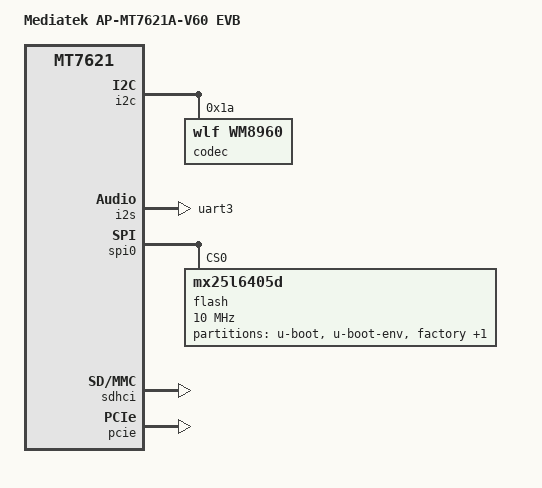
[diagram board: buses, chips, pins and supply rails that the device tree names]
/dts-v1/;

#include "mt7621.dtsi"

/ {
	compatible = "mediatek,ap-mt7621a-v60", "mediatek,mt7621-soc";
	model = "Mediatek AP-MT7621A-V60 EVB";

	chosen {
		bootargs = "console=ttyS0,57600";
	};

	sound {
		compatible = "simple-audio-card";
		simple-audio-card,name = "Audio-I2S";
		simple-audio-card,format = "i2s";
		simple-audio-card,bitclock-master = <&dailink0_master>;
		simple-audio-card,frame-master = <&dailink0_master>;
		simple-audio-card,widgets =
			"Microphone", "Microphone Jack",
			"Headphone", "Headphone Jack";
		simple-audio-card,routing =
			"LINPUT1", "Microphone Jack",
			"RINPUT1", "Microphone Jack",
			"Headphone Jack", "HP_L",
			"Headphone Jack", "HP_R";
		simple-audio-card,mclk-fs = <256>;

		simple-audio-card,cpu {
			sound-dai = <&i2s>;
		};

		dailink0_master: simple-audio-card,codec {
			sound-dai = <&codec>;
		};
	};
};

&state_default {
	gpio {
		groups = "uart2", "rgmii2";
		function = "gpio";
	};
};

&pinctrl {
	i2s_pins: i2s {
		i2s {
			groups = "uart3";
			function = "i2s";
		};
	};
};

&i2c {
	status = "okay";

	codec: wm8960@1a {
		#sound-dai-cells = <0>;
		compatible = "wlf,wm8960";
		reg = <0x1a>;
		wlf,shared-lrclk;
	};
};

&gdma {
	status = "okay";
};

&i2s {
	#sound-dai-cells = <0>;
	status = "okay";
	pinctrl-names = "default";
	pinctrl-0 = <&i2s_pins>;
};

&spi0 {
	status = "okay";

	flash@0 {
		compatible = "mx25l6405d","jedec,spi-nor";
		reg = <0>;
		spi-max-frequency = <10000000>;

		partitions {
			compatible = "fixed-partitions";
			#address-cells = <1>;
			#size-cells = <1>;

			partition@0 {
				label = "u-boot";
				reg = <0x0 0x30000>;
				read-only;
			};

			partition@30000 {
				label = "u-boot-env";
				reg = <0x30000 0x10000>;
				read-only;
			};

			factory: partition@40000 {
				label = "factory";
				reg = <0x40000 0x10000>;
				read-only;
			};

			partition@50000 {
				compatible = "denx,uimage";
				label = "firmware";
				reg = <0x50000 0x7b0000>;
			};
		};
	};
};

&sdhci {
	status = "okay";
};

&gmac0 {
	mtd-mac-address = <&factory 0x5>;
};

&switch0 {
	ports {
		port@0 {
			status = "okay";
			label = "lan1";
		};

		port@1 {
			status = "okay";
			label = "lan2";
		};

		port@2 {
			status = "okay";
			label = "lan3";
		};

		port@3 {
			status = "okay";
			label = "lan4";
		};

		port@4 {
			status = "okay";
			label = "wan";
			mtd-mac-address = <&factory 0x5>;
			mtd-mac-address-increment = <1>;
		};
	};
};

&pcie {
	status = "okay";
};
